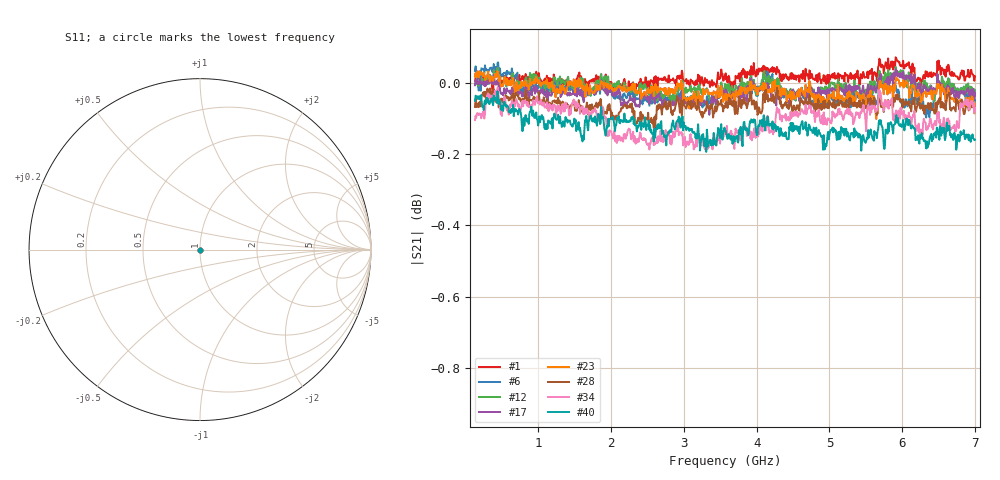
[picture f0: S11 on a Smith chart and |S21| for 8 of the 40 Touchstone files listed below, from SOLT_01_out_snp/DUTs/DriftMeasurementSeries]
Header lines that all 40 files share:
# Hz S RI R 50.000000
! Metas.Vna.Tools, 2.8.8664.20301
! Metas.Vna.Data, 2.8.8664.20285
! FREQ  re:S1,1  im:S1,1  re:S2,1  im:S2,1  re:S1,2  im:S1,2  re:S2,2  im:S2,2
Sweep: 130 MHz to 7 GHz
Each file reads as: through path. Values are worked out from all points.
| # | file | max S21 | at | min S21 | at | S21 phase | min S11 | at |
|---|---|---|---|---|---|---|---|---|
| 1 | DriftMeasurementSeries_0001.s2p | 0.07 dB | 5.909 GHz | 0.0 dB | 2.311 GHz | -0 deg at 3.565 GHz | -91.3 dB | 241.6 MHz |
| 2 | DriftMeasurementSeries_0002.s2p | 0.05 dB | 5.927 GHz | -0.1 dB | 3.548 GHz | -0 deg at 3.565 GHz | -90.7 dB | 928.6 MHz |
| 3 | DriftMeasurementSeries_0003.s2p | 0.03 dB | 1.118 GHz | -0.1 dB | 1.616 GHz | -0 deg at 3.565 GHz | -95.9 dB | 198.7 MHz |
| 4 | DriftMeasurementSeries_0004.s2p | 0.06 dB | 439.1 MHz | -0.1 dB | 6.596 GHz | -0 deg at 3.565 GHz | -86.7 dB | 911.5 MHz |
| 5 | DriftMeasurementSeries_0005.s2p | 0.05 dB | 5.927 GHz | -0.1 dB | 147.2 MHz | -0 deg at 3.565 GHz | -92.2 dB | 5.428 GHz |
| 6 | DriftMeasurementSeries_0006.s2p | 0.06 dB | 447.7 MHz | -0.1 dB | 6.33 GHz | -1 deg at 3.565 GHz | -94.0 dB | 3.264 GHz |
| 7 | DriftMeasurementSeries_0007.s2p | 0.02 dB | 464.9 MHz | -0.1 dB | 6.631 GHz | -1 deg at 3.565 GHz | -80.5 dB | 439.1 MHz |
| 8 | DriftMeasurementSeries_0008.s2p | 0.02 dB | 4.097 GHz | -0.1 dB | 3.445 GHz | -1 deg at 3.565 GHz | -85.9 dB | 1.607 GHz |
| 9 | DriftMeasurementSeries_0009.s2p | 0.02 dB | 439.1 MHz | -0.1 dB | 6.373 GHz | -1 deg at 3.565 GHz | -80.3 dB | 1.624 GHz |
| 10 | DriftMeasurementSeries_0010.s2p | 0.04 dB | 439.1 MHz | -0.1 dB | 6.33 GHz | -0 deg at 3.565 GHz | -92.5 dB | 1.641 GHz |
| 11 | DriftMeasurementSeries_0011.s2p | 0.03 dB | 439.1 MHz | -0.1 dB | 3.282 GHz | -1 deg at 3.565 GHz | -85.8 dB | 456.3 MHz |
| 12 | DriftMeasurementSeries_0012.s2p | 0.05 dB | 5.909 GHz | -0.1 dB | 3.445 GHz | -1 deg at 3.565 GHz | -84.2 dB | 1.985 GHz |
| 13 | DriftMeasurementSeries_0013.s2p | 0.04 dB | 5.978 GHz | -0.1 dB | 4.776 GHz | -1 deg at 3.565 GHz | -91.6 dB | 439.1 MHz |
| 14 | DriftMeasurementSeries_0014.s2p | 0.05 dB | 439.1 MHz | -0.1 dB | 3.694 GHz | -1 deg at 3.565 GHz | -84.1 dB | 902.9 MHz |
| 15 | DriftMeasurementSeries_0015.s2p | 0.04 dB | 447.7 MHz | -0.1 dB | 5.205 GHz | -1 deg at 3.565 GHz | -83.9 dB | 233.1 MHz |
| 16 | DriftMeasurementSeries_0016.s2p | 0.03 dB | 215.9 MHz | -0.1 dB | 2.526 GHz | -1 deg at 3.565 GHz | -83.6 dB | 456.3 MHz |
| 17 | DriftMeasurementSeries_0017.s2p | 0.04 dB | 5.909 GHz | -0.1 dB | 3.35 GHz | -1 deg at 3.565 GHz | -95.5 dB | 430.6 MHz |
| 18 | DriftMeasurementSeries_0018.s2p | 0.00 dB | 5.806 GHz | -0.1 dB | 2.208 GHz | -1 deg at 3.565 GHz | -81.5 dB | 1.676 GHz |
| 19 | DriftMeasurementSeries_0019.s2p | 0.02 dB | 4.097 GHz | -0.1 dB | 2.5 GHz | -1 deg at 3.565 GHz | -89.2 dB | 5.076 GHz |
| 20 | DriftMeasurementSeries_0020.s2p | 0.03 dB | 439.1 MHz | -0.1 dB | 4.93 GHz | -1 deg at 3.565 GHz | -83.1 dB | 1.633 GHz |
| 21 | DriftMeasurementSeries_0021.s2p | 0.01 dB | 5.918 GHz | -0.1 dB | 6.871 GHz | -1 deg at 3.565 GHz | -86.5 dB | 3.247 GHz |
| 22 | DriftMeasurementSeries_0022.s2p | 0.02 dB | 5.978 GHz | -0.1 dB | 4.991 GHz | -0 deg at 3.565 GHz | -100.5 dB | 430.6 MHz |
| 23 | DriftMeasurementSeries_0023.s2p | 0.03 dB | 439.1 MHz | -0.1 dB | 5.643 GHz | -1 deg at 3.565 GHz | -90.5 dB | 5.454 GHz |
| 24 | DriftMeasurementSeries_0024.s2p | 0.04 dB | 439.1 MHz | -0.1 dB | 2.217 GHz | -0 deg at 3.565 GHz | -97.7 dB | 3.728 GHz |
| 25 | DriftMeasurementSeries_0025.s2p | -0.02 dB | 5.944 GHz | -0.1 dB | 507.9 MHz | -1 deg at 3.565 GHz | -82.0 dB | 3.488 GHz |
| 26 | DriftMeasurementSeries_0026.s2p | 0.02 dB | 447.7 MHz | -0.1 dB | 5.128 GHz | -1 deg at 3.565 GHz | -87.4 dB | 1.985 GHz |
| 27 | DriftMeasurementSeries_0027.s2p | 0.03 dB | 3.96 GHz | -0.1 dB | 2.99 GHz | -1 deg at 3.565 GHz | -90.9 dB | 413.4 MHz |
| 28 | DriftMeasurementSeries_0028.s2p | -0.01 dB | 4.278 GHz | -0.1 dB | 2.603 GHz | -1 deg at 3.565 GHz | -81.5 dB | 1.513 GHz |
| 29 | DriftMeasurementSeries_0029.s2p | -0.01 dB | 155.8 MHz | -0.2 dB | 4.87 GHz | -1 deg at 3.565 GHz | -91.8 dB | 902.9 MHz |
| 30 | DriftMeasurementSeries_0030.s2p | 0.00 dB | 4.097 GHz | -0.1 dB | 3.333 GHz | -1 deg at 3.565 GHz | -97.3 dB | 3.247 GHz |
| 31 | DriftMeasurementSeries_0031.s2p | 0.01 dB | 439.1 MHz | -0.1 dB | 2.5 GHz | -1 deg at 3.565 GHz | -89.8 dB | 3.488 GHz |
| 32 | DriftMeasurementSeries_0032.s2p | -0.02 dB | 963 MHz | -0.2 dB | 6.304 GHz | -1 deg at 3.565 GHz | -88.0 dB | 1.607 GHz |
| 33 | DriftMeasurementSeries_0033.s2p | -0.01 dB | 5.686 GHz | -0.1 dB | 2.354 GHz | -1 deg at 3.565 GHz | -85.9 dB | 430.6 MHz |
| 34 | DriftMeasurementSeries_0034.s2p | -0.01 dB | 439.1 MHz | -0.2 dB | 3.29 GHz | -1 deg at 3.565 GHz | -90.2 dB | 430.6 MHz |
| 35 | DriftMeasurementSeries_0035.s2p | 0.00 dB | 387.6 MHz | -0.2 dB | 3.402 GHz | -1 deg at 3.565 GHz | -92.9 dB | 1.607 GHz |
| 36 | DriftMeasurementSeries_0036.s2p | -0.02 dB | 387.6 MHz | -0.2 dB | 6.794 GHz | -1 deg at 3.565 GHz | -91.1 dB | 1.143 GHz |
| 37 | DriftMeasurementSeries_0037.s2p | -0.03 dB | 267.4 MHz | -0.2 dB | 3.161 GHz | -1 deg at 3.565 GHz | -84.2 dB | 5.059 GHz |
| 38 | DriftMeasurementSeries_0038.s2p | -0.04 dB | 653.8 MHz | -0.2 dB | 5.085 GHz | -1 deg at 3.565 GHz | -81.3 dB | 3.488 GHz |
| 39 | DriftMeasurementSeries_0039.s2p | 0.00 dB | 387.6 MHz | -0.1 dB | 3.307 GHz | -1 deg at 3.565 GHz | -84.0 dB | 1.504 GHz |
| 40 | DriftMeasurementSeries_0040.s2p | -0.02 dB | 439.1 MHz | -0.2 dB | 3.307 GHz | -1 deg at 3.565 GHz | -85.8 dB | 6.708 GHz |
